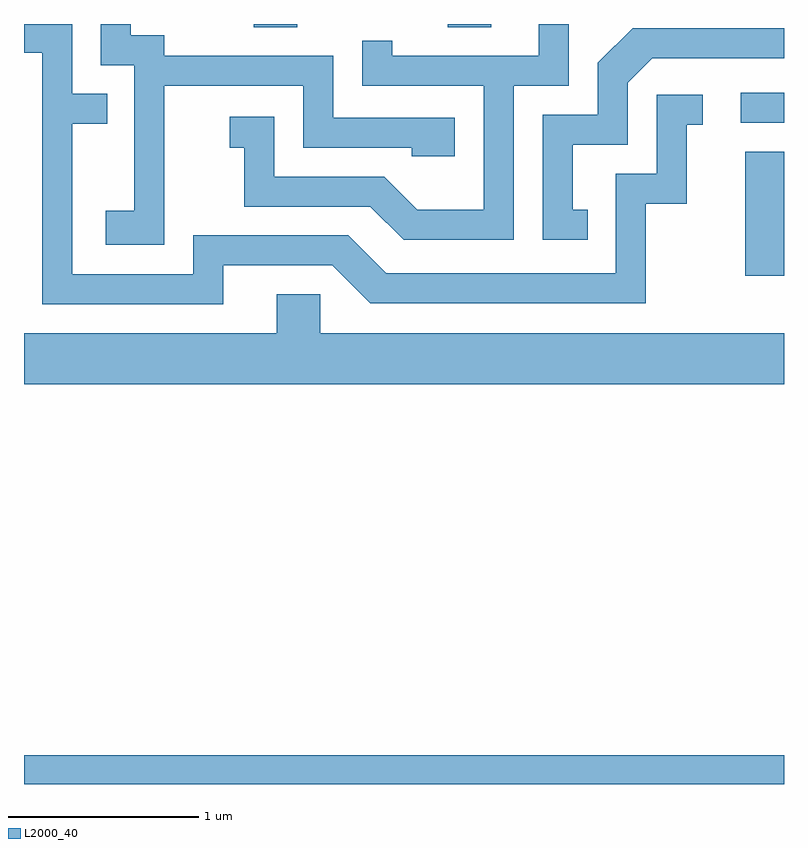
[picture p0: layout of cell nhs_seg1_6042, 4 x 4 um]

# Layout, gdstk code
import gdstk
lib = gdstk.Library(unit=1e-6, precision=1e-09)
def R(c, l, rs):  # rectangles x0, y0, x1, y1
    for r in rs: c.add(gdstk.rectangle(r[:2], r[2:], *l))
def P(c, l, *ps):  # polygons
    for p in ps: c.add(gdstk.Polygon(p, *l))
L2000_40 = (2000, 40)

nhs_seg1_6042 = lib.new_cell('nhs_seg1_6042')
R(nhs_seg1_6042, L2000_40, [(367.611,879.712,371.611,879.864), (371.406,882.386,371.611,883.039), (371.383,883.191,371.611,883.349), (368.821,883.696,369.049,883.712), (369.841,883.696,370.069,883.712)])
P(nhs_seg1_6042, L2000_40, [(368.349,883.386),(369.081,883.386),(369.081,883.061),(369.651,883.061),(369.651,883.016),(369.879,883.016),(369.879,883.219),(369.239,883.219),(369.239,883.544),(368.349,883.544),(368.349,883.654),(368.174,883.654),(368.174,883.712),(368.016,883.712),(368.016,883.496),(368.191,883.496),(368.191,882.729),(368.041,882.729),(368.041,882.551),(368.349,882.551)],
  [(370.189,883.386),(370.479,883.386),(370.479,883.712),(370.321,883.712),(370.321,883.544),(369.549,883.544),(369.549,883.623),(369.391,883.623),(369.391,883.386),(370.031,883.386),(370.031,882.734),(369.682,882.734),(369.507,882.909),(368.929,882.909),(368.929,883.224),(368.693,883.224),(368.693,883.061),(368.771,883.061),(368.771,882.751),(369.434,882.751),(369.609,882.576),(370.189,882.576)],
  [(368.659,882.441),(369.234,882.441),(369.434,882.241),(370.884,882.241),(370.884,882.766),(371.099,882.766),(371.099,883.181),(371.183,883.181),(371.183,883.339),(370.941,883.339),(370.941,882.924),(370.726,882.924),(370.726,882.399),(369.517,882.399),(369.317,882.599),(368.501,882.599),(368.501,882.394),(367.864,882.394),(367.864,883.186),(368.048,883.186),(368.048,883.344),(367.864,883.344),(367.864,883.712),(367.611,883.712),(367.611,883.561),(367.706,883.561),(367.706,882.236),(368.659,882.236)],
  [(370.578,882.734),(370.499,882.734),(370.499,883.076),(370.789,883.076),(370.789,883.404),(370.917,883.531),(371.611,883.531),(371.611,883.689),(370.814,883.689),(370.631,883.507),(370.631,883.234),(370.341,883.234),(370.341,882.576),(370.578,882.576)],
  [(371.611,882.084),(369.169,882.084),(369.169,882.289),(368.941,882.289),(368.941,882.084),(367.611,882.084),(367.611,881.816),(371.611,881.816)])

lib.write_gds('nhs_seg1_6042.gds')
